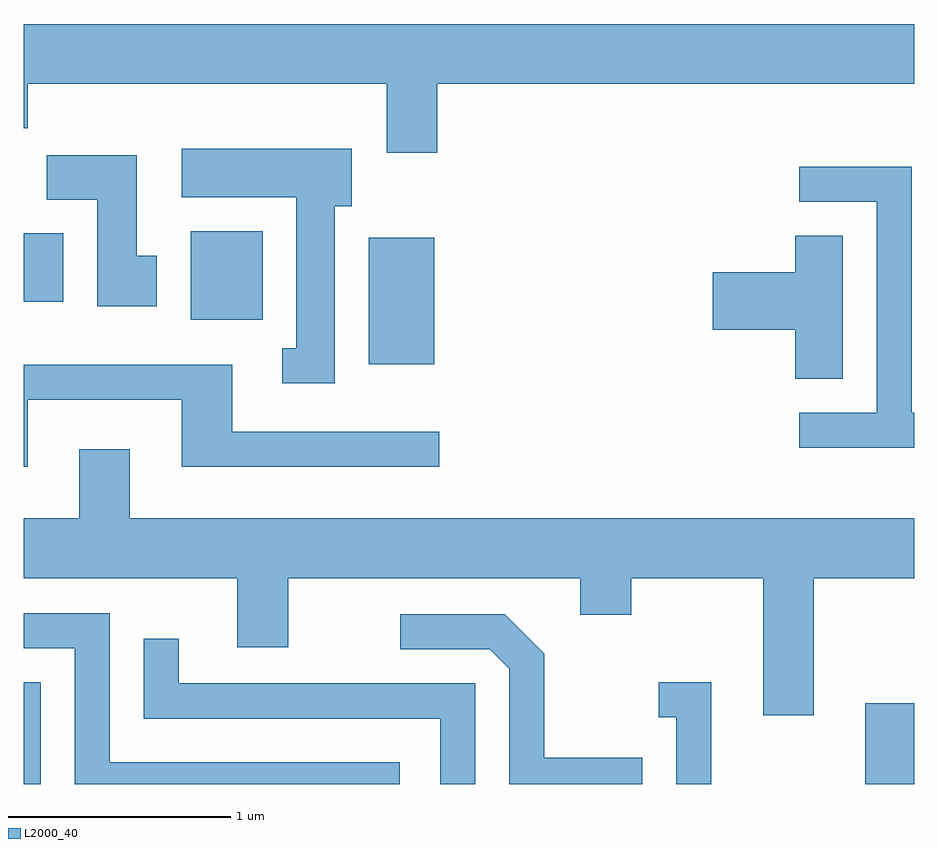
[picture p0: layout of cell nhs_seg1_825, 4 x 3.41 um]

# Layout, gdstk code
import gdstk
lib = gdstk.Library(unit=1e-6, precision=1e-09)
def R(c, l, rs):  # rectangles x0, y0, x1, y1
    for r in rs: c.add(gdstk.rectangle(r[:2], r[2:], *l))
def P(c, l, *ps):  # polygons
    for p in ps: c.add(gdstk.Polygon(p, *l))
L2000_40 = (2000, 40)

nhs_seg1_825 = lib.new_cell('nhs_seg1_825')
R(nhs_seg1_825, L2000_40, [(209.611,949.712,209.689,950.169), (213.391,949.712,213.611,950.074), (211.161,951.596,211.454,952.164), (210.361,951.796,210.684,952.194), (209.611,951.876,209.789,952.184)])
P(nhs_seg1_825, L2000_40, [(211.469,952.856),(213.611,952.856),(213.611,953.124),(209.611,953.124),(209.611,952.656),(209.629,952.656),(209.629,952.856),(211.241,952.856),(211.241,952.546),(211.469,952.546)],
  [(211.009,952.306),(211.084,952.306),(211.084,952.564),(210.321,952.564),(210.321,952.346),(210.836,952.346),(210.836,951.669),(210.773,951.669),(210.773,951.511),(211.009,951.511)],
  [(210.209,952.084),(210.119,952.084),(210.119,952.534),(209.716,952.534),(209.716,952.336),(209.941,952.336),(209.941,951.856),(210.209,951.856)],
  [(213.611,951.379),(213.599,951.379),(213.599,952.484),(213.093,952.484),(213.093,952.326),(213.441,952.326),(213.441,951.379),(213.093,951.379),(213.093,951.221),(213.611,951.221)],
  [(213.289,952.174),(213.076,952.174),(213.076,952.009),(212.706,952.009),(212.706,951.751),(213.076,951.751),(213.076,951.531),(213.289,951.531)],
  [(209.629,951.436),(210.321,951.436),(210.321,951.136),(211.478,951.136),(211.478,951.294),(210.549,951.294),(210.549,951.594),(209.611,951.594),(209.611,951.136),(209.629,951.136)],
  [(213.159,950.636),(213.611,950.636),(213.611,950.904),(210.089,950.904),(210.089,951.214),(209.861,951.214),(209.861,950.904),(209.611,950.904),(209.611,950.636),(210.571,950.636),(210.571,950.326),(210.799,950.326),(210.799,950.636),(212.111,950.636),(212.111,950.471),(212.339,950.471),(212.339,950.636),(212.931,950.636),(212.931,950.021),(213.159,950.021)],
  [(211.299,949.809),(209.999,949.809),(209.999,950.479),(209.611,950.479),(209.611,950.321),(209.841,950.321),(209.841,949.712),(211.299,949.712)],
  [(212.389,949.829),(211.949,949.829),(211.949,950.297),(211.772,950.474),(211.303,950.474),(211.303,950.316),(211.704,950.316),(211.791,950.229),(211.791,949.712),(212.389,949.712)],
  [(211.639,950.164),(210.309,950.164),(210.309,950.363),(210.151,950.363),(210.151,950.006),(211.481,950.006),(211.481,949.712),(211.639,949.712)],
  [(212.699,950.169),(212.463,950.169),(212.463,950.011),(212.541,950.011),(212.541,949.712),(212.699,949.712)])

lib.write_gds('nhs_seg1_825.gds')
